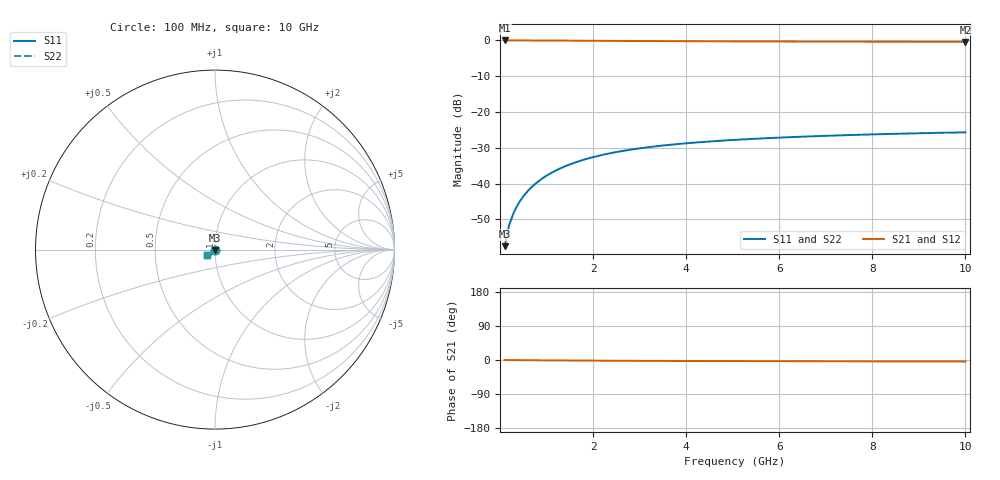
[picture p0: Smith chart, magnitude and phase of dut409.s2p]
! Touchstone file exported from HFSS 2024.1.0
!  File:  C:/UserFiles/LocalFiles/RDL_TSV_Batchsim/temp_TSV1_409_1779692353.aedt
!  Generated:  03:03:08 PM May 25, 2026
!  Design:  TSV1
!  Project:  temp_TSV1_409_1779692353
!  Setup:  Setup1
!  Solution:  Sweep
! Variables:
!  dtsv = 14.38um
!  hbump = 3um
!  htsv = 56.25um
!  lrdl = 252.1521522um
!  p = 40
!  p1 = 41.38um
!  t = 500um
!  trdl = 3um
!  wrdl = 24.89489489um
# GHz S MA R 50.000000
! Terminal data exported
! Port[1] = TSV22_T1
! Port[2] = TSV22_T2
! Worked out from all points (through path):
!   100 points, 100 MHz to 10 GHz, reference 50 ohm
!   highest |S21| = 0.00 dB at 100 MHz (marker M1); lowest = -0.4 dB at 10 GHz (marker M2)
!   lowest |S11| = -57.5 dB at 100 MHz (marker M3), VSWR 1.00, Z = 50 - j0.133 ohm
!   |S11| at or under -10 dB: start of sweep to end of sweep
!   |S22| runs from -57.5 to -25.7 dB; largest |S21 - S12| = 5e-15
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0.1  0.001333 -88.4  0.9999 -0.1  0.9999 -0.1  0.001333 -88.4
! Gamma 0 0 0 0
! Port Impedance 50 0 50 0
0.2  0.00266 -91.4  0.9998 -0.2  0.9998 -0.2  0.00266 -91.4
0.3  0.003984 -93.4  0.9996 -0.3  0.9996 -0.3  0.003984 -93.4
0.4  0.005301 -95.2  0.9994 -0.4  0.9994 -0.4  0.005301 -95.2
0.5  0.006607 -96.8  0.9991 -0.5  0.9991 -0.5  0.006607 -96.8
0.6  0.0079 -98.3  0.9987 -0.6  0.9987 -0.6  0.0079 -98.3
0.7  0.009175 -99.7  0.9983 -0.7  0.9983 -0.7  0.009175 -99.7
0.8  0.01043 -101.2  0.9978 -0.8  0.9978 -0.8  0.01043 -101.2
0.9  0.01166 -102.5  0.9973 -0.9  0.9973 -0.9  0.01166 -102.5
1.1  0.01406 -105.2  0.9961 -1.1  0.9961 -1.1  0.01406 -105.2
1.4  0.01744 -109.0  0.9941 -1.3  0.9941 -1.3  0.01744 -109.0
1.6  0.01954 -111.3  0.9927 -1.4  0.9927 -1.4  0.01954 -111.3
1.8  0.02152 -113.6  0.9912 -1.6  0.9912 -1.6  0.02152 -113.6
2.1  0.02427 -116.7  0.9889 -1.8  0.9889 -1.8  0.02427 -116.7
2.5  0.02753 -120.4  0.9859 -2.0  0.9859 -2.0  0.02753 -120.4
2.9  0.03037 -123.6  0.9831 -2.1  0.9831 -2.1  0.03037 -123.6
3.4  0.03343 -127.1  0.9798 -2.3  0.9798 -2.3  0.03343 -127.1
4.2  0.03743 -131.7  0.9751 -2.6  0.9751 -2.6  0.03743 -131.7
5.1  0.04098 -135.6  0.9707 -2.9  0.9707 -2.9  0.04098 -135.6
6.7  0.04572 -140.7  0.9646 -3.3  0.9646 -3.3  0.04572 -140.7
8.4  0.04939 -144.5  0.9598 -3.7  0.9598 -3.7  0.04939 -144.5
10  0.05198 -147.1  0.9565 -4.0  0.9565 -4.0  0.05198 -147.1
